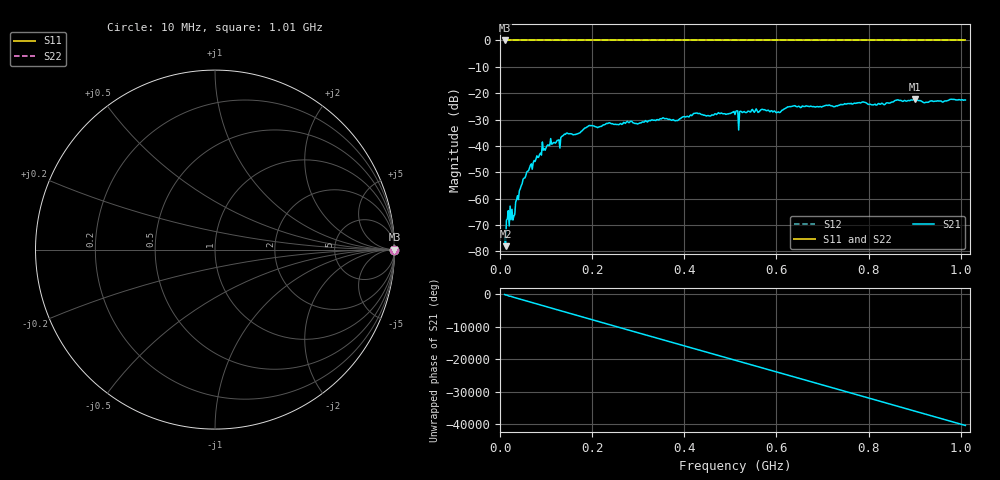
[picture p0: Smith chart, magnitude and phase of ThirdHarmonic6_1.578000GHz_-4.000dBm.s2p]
! 8/16/2025 6:46:23 PM
! C:\ANRITSUVNA\TEMP\TEMP.S2P
! CHANNEL.1
! TR.MEASUREMENT
! RAW.DATA
! RF.CORRECTION.OFF
! AVERAGING.OFF
! IF.BANDWIDTH: 5KHZ
! SWEEPTYPE:  FREQ.SWEEP(Linear)
! Reference Plane Port Info
! PORT:  PORT1  PORT2
! DISTANCE:  0  m  0  m
! TIME:  0  s  0  s
! PHASE.OFFSET:  0  deg.  0  deg.
! LOSS:  0  dB  0  dB
! REF.LOSS:  0  dB  0  dB
! REF.FREQ:  0  Hz  0  Hz
! Power Info
! POWER:  -20  dBm  -20  dBm
! EFF.POWER:  -20  dBm  -20  dBm
! SOURCE.ATTEN:  0  dB  0  dB
! TEST.ATTEN:  0  dB  0  dB
# GHZ S RI R 50.0
! FREQ.GHZ  S11RE  S11IM  S21RE  S21IM  S12RE  S12IM  S22RE  S22IM
!; PortSelection: Port_12
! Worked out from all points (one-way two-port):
!   501 points, 10 MHz to 1.01 GHz, reference 50 ohm
!   highest |S21| = -22.17 dB at 900 MHz (marker M1); lowest = -78.0 dB at 12 MHz (marker M2)
!   lowest |S11| = 0.0 dB at 10 MHz (marker M3)
!   |S11| at or under -10 dB: nowhere
!   |S22| runs from 0.0 to 0.0 dB; largest |S21 - S12| = 1.1
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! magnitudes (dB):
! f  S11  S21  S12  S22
! 10 MHz  0.0  -74.7  0.0  0.0
! 12 MHz  0.0  -78.0  0.0  0.0
! 18 MHz  0.0  -64.5  0.0  0.0
! 28 MHz  0.0  -68.1  0.0  0.0
! 38 MHz  0.0  -58.9  0.0  0.0
! 54 MHz  0.0  -52.1  0.0  0.0
! 90 MHz  0.0  -43.5  0.0  0.0
! 106 MHz  0.0  -39.8  0.0  0.0
! 126 MHz  0.0  -37.9  0.0  0.0
! 142 MHz  0.0  -35.6  0.0  0.0
! 178 MHz  0.0  -34.3  0.0  0.0
! 196 MHz  0.0  -32.3  0.0  0.0
! 344 MHz  0.0  -30.2  0.0  0.0
! 510 MHz  0.0  -28.1  0.0  0.0
! 522 MHz  0.0  -26.8  0.0  0.0
! 524 MHz  0.0  -27.0  0.0  0.0
! 604 MHz  0.0  -27.1  0.0  0.0
! 636 MHz  0.0  -24.9  0.0  0.0
! 678 MHz  0.0  -25.1  0.0  0.0
! 844 MHz  0.0  -23.8  0.0  0.0
! 900 MHz  0.0  -22.2  0.0  0.0
! 1.01 GHz  0.0  -22.6  0.0  0.0
